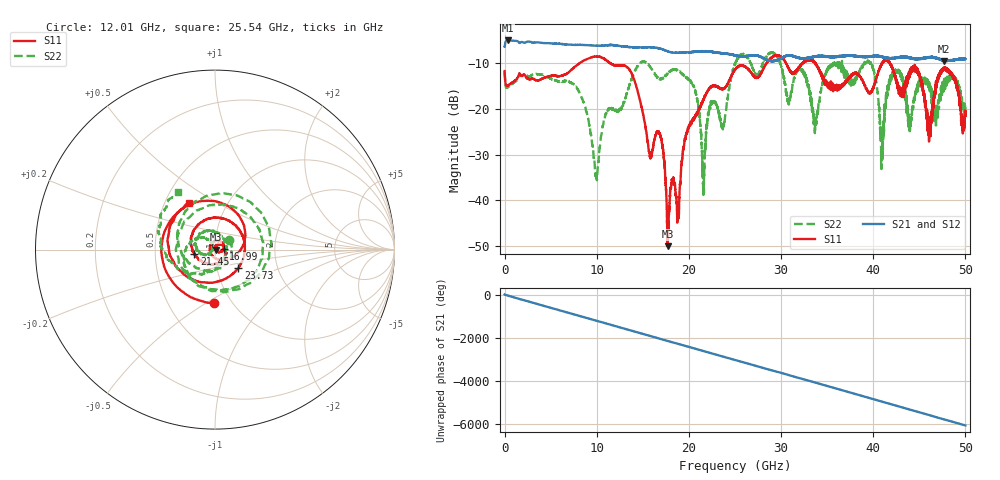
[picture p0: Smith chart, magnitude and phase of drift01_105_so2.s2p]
!Created with skrf (http://scikit-rf.org).
# Hz S RI R 50.0
!freq ReS11 ImS11 ReS21 ImS21 ReS12 ImS12 ReS22 ImS22
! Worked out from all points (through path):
!   10001 points, 300 kHz to 50 GHz, reference 50 ohm
!   highest |S21| = -5.05 dB at 325.3 MHz (marker M1); lowest = -9.6 dB at 47.67 GHz (marker M2)
!   group delay of S21, straight-line fit = 336 ps
!   lowest |S11| = -50.0 dB at 17.69 GHz (marker M3), VSWR 1.01, Z = 50.3 - j0.126 ohm
!   |S11| at or under -10 dB: start of sweep to 8.164 GHz; 11.43 GHz to 28.42 GHz (16.99 GHz wide, 85.3 % of centre); 41.8 GHz to end of sweep (the widest 3 of 9)
!   |S22| runs from -38.8 to -7.6 dB; largest |S21 - S12| = 0.016
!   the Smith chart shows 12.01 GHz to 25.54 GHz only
!   S11 on the Smith chart (normalised r, x): 12.01 GHz: 0.83, -0.54; 16.99 GHz: 1.10, +0.00; 21.45 GHz: 0.79, -0.03; 23.73 GHz: 1.27, -0.27; 25.54 GHz: 0.66, +0.38
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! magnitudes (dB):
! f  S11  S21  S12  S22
! 300 kHz  -11.7  -6.4  -6.5  -11.7
! 325.3 MHz  -14.9  -5.1  -5.1  -15.4
! 8.335 GHz  -9.8  -6.0  -6.0  -17.5
! 9.935 GHz  -8.5  -6.2  -6.2  -34.2
! 12.01 GHz  -10.5  -6.1  -6.1  -20.4
! 16.67 GHz  -24.9  -6.7  -6.7  -13.3
! 16.99 GHz  -26.5  -6.9  -6.9  -13.5
! 17.69 GHz  -50.0  -7.4  -7.4  -12.3
! 20.5 GHz  -22.2  -7.5  -7.5  -15.0
! 21.45 GHz  -18.7  -7.4  -7.4  -31.1
! 22.47 GHz  -15.1  -7.6  -7.5  -18.9
! 23.73 GHz  -15.6  -7.8  -7.9  -24.0
! 25 GHz  -11.4  -8.3  -8.3  -10.3
! 25.54 GHz  -10.5  -8.5  -8.5  -8.4
! 33.34 GHz  -9.4  -8.7  -8.7  -19.4
! 39.49 GHz  -16.4  -8.6  -8.6  -9.9
! 40.95 GHz  -10.1  -8.6  -8.6  -29.4
! 41.67 GHz  -9.6  -8.8  -9.0  -15.3
! 44.78 GHz  -12.2  -9.2  -9.1  -15.2
! 46.11 GHz  -23.8  -8.8  -8.8  -15.8
! 47.67 GHz  -11.4  -9.6  -9.5  -14.8
! 50 GHz  -21.1  -9.1  -9.1  -20.1
